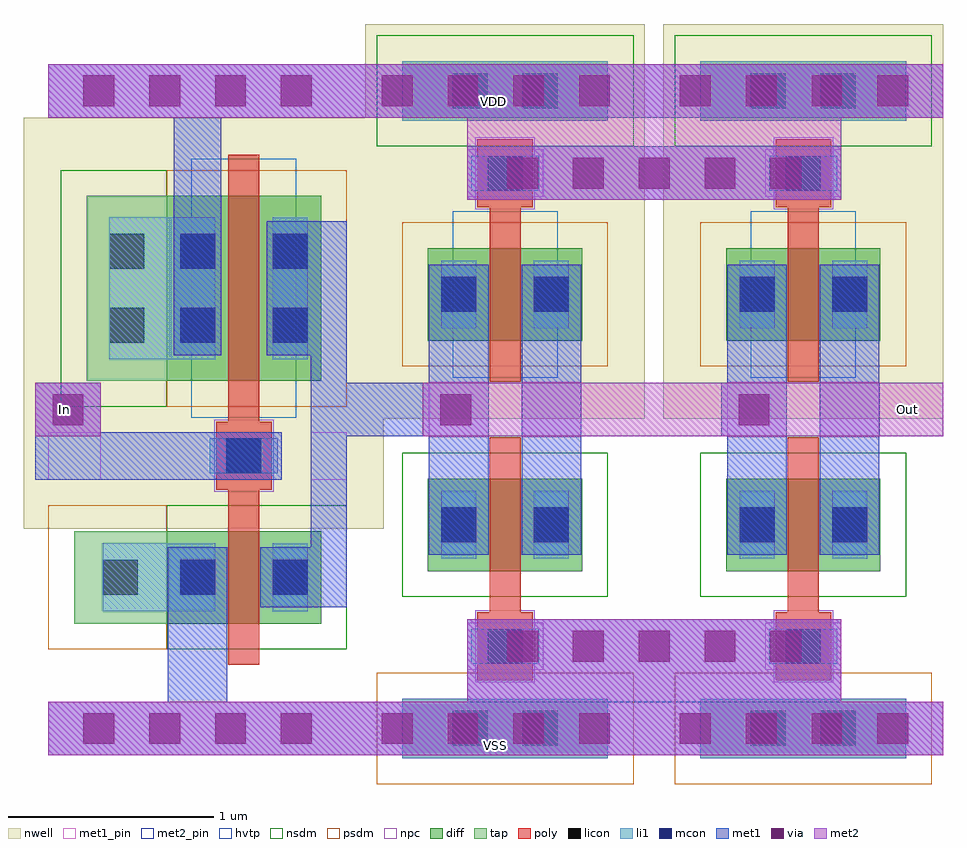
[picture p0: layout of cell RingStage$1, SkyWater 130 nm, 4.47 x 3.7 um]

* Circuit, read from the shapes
.subckt RingStage$1 In Out VDD VSS
XM1 Out In VSS VSS sky130_fd_pr__nfet_01v8 w=0.45 l=0.15
XM2 passGate_hvt$1_1/Out VSS Out VSS sky130_fd_pr__nfet_01v8 w=0.45 l=0.15
XM3 passGate_hvt$1_7/Out VSS Out VSS sky130_fd_pr__nfet_01v8 w=0.45 l=0.15
XM4 Out In VDD VDD sky130_fd_pr__pfet_01v8_hvt w=0.9 l=0.15
XM5 passGate_hvt$1_1/Out VDD Out VDD sky130_fd_pr__pfet_01v8_hvt w=0.45 l=0.15
XM6 passGate_hvt$1_7/Out VDD Out n1 sky130_fd_pr__pfet_01v8_hvt w=0.45 l=0.15
.ends

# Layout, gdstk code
from math import pi, radians
import gdstk
lib = gdstk.Library(unit=1e-6, precision=1e-09)
def R(c, l, rs):  # rectangles x0, y0, x1, y1
    for r in rs: c.add(gdstk.rectangle(r[:2], r[2:], *l))
def A(c, l, x, y, w, h, nx, ny, dx, dy):  # array of equal rectangles
    R(c, l, [(x+i*dx, y+j*dy, x+i*dx+w, y+j*dy+h) for i in range(nx) for j in range(ny)])
nwell = (64, 20)
diff = (65, 20)
tap = (65, 44)
poly = (66, 20)
licon = (66, 44)
li1 = (67, 20)
mcon = (67, 44)
met1_pin = (68, 16)
met1 = (68, 20)
via = (68, 44)
met2_pin = (69, 16)
met2 = (69, 20)
hvtp = (78, 44)
nsdm = (93, 44)
psdm = (94, 20)
npc = (95, 20)

nfet_2 = lib.new_cell('nfet$2')
R(nfet_2, diff, [(0,0,0.75,0.45)])
R(nfet_2, tap, [(0.75,0,1.2,0.45)])
R(nfet_2, poly, [(0.3,-0.2,0.45,0.65), (0.24,0.65,0.51,0.98)])
R(nfet_2, licon, [(0.065,0.14,0.235,0.31), (0.515,0.14,0.685,0.31), (0.89,0.14,1.06,0.31), (0.29,0.73,0.46,0.9)])
R(nfet_2, li1, [(0.065,0.06,0.235,0.39), (0.515,0.06,0.685,0.39), (0.89,0.06,1.06,0.39), (0.21,0.73,0.54,0.9)])
R(nfet_2, mcon, [(0.065,0.14,0.235,0.31), (0.515,0.14,0.685,0.31), (0.29,0.73,0.46,0.9)])
R(nfet_2, met1, [(0.005,0.08,0.295,0.37), (0.455,0.08,0.745,0.37), (0.19,0.7,0.56,0.93)])
R(nfet_2, nsdm, [(-0.125,-0.125,0.75,0.575)])
R(nfet_2, psdm, [(0.75,-0.125,1.325,0.575)])
R(nfet_2, npc, [(0.23,0.64,0.52,0.99)])

pfet_2 = lib.new_cell('pfet$2')
R(pfet_2, nwell, [(-0.305,-0.72,1.445,1.28)])
R(pfet_2, diff, [(0,0,0.75,0.9)])
R(pfet_2, tap, [(0.75,0,1.14,0.9)])
R(pfet_2, poly, [(0.24,-0.53,0.51,-0.2), (0.3,-0.2,0.45,1.1)])
R(pfet_2, licon, [(0.29,-0.45,0.46,-0.28), (0.065,0.185,0.235,0.355), (0.515,0.185,0.685,0.355), (0.86,0.185,1.03,0.355), (0.065,0.545,0.235,0.715), (0.515,0.545,0.685,0.715), (0.86,0.545,1.03,0.715)])
R(pfet_2, li1, [(0.21,-0.45,0.54,-0.28), (0.065,0.105,0.235,0.795), (0.515,0.105,0.685,0.795), (0.86,0.105,1.03,0.795)])
R(pfet_2, mcon, [(0.29,-0.45,0.46,-0.28), (0.065,0.185,0.235,0.355), (0.515,0.185,0.685,0.355), (0.065,0.545,0.235,0.715), (0.515,0.545,0.685,0.715)])
R(pfet_2, met1, [(0.19,-0.48,0.56,-0.25), (0.035,0.125,0.265,0.775), (0.485,0.125,0.715,0.775)])
R(pfet_2, hvtp, [(0.12,-0.18,0.63,1.08)])
R(pfet_2, nsdm, [(0.75,-0.125,1.265,1.025)])
R(pfet_2, psdm, [(-0.125,-0.125,0.75,1.025)])
R(pfet_2, npc, [(0.23,-0.54,0.52,-0.19)])

vias_gen_5 = lib.new_cell('vias_gen$5')
R(vias_gen_5, met1, [(0,0,1.45,0.26)])
A(vias_gen_5, via, 0.17, 0.055, 0.15, 0.15, 4, 1, 0.32, 0)
R(vias_gen_5, met2, [(0,0,1.45,0.26)])

inverter_1 = lib.new_cell('inverter$1')
R(inverter_1, li1, [(-0.04,0.12,0.505,0.45), (-0.01,1.345,0.505,2.035)])
R(inverter_1, met1_pin, [(-0.305,0.76,-0.05,0.99), (0.97,0.76,1.145,0.99)])
R(inverter_1, met1, [(-0.305,-0.55,0.85,-0.32), (0.85,-0.55,1.145,-0.32), (0.275,-0.32,0.565,0.43), (0.97,0.14,1.145,0.99), (-0.305,0.76,0.83,0.99), (0.97,0.99,1.145,2.015), (0.305,1.365,0.535,2.52), (-0.305,2.52,0.85,2.75), (0.85,2.52,1.145,2.75)])
R(inverter_1, met2_pin, [(-0.305,-0.58,1.145,-0.32), (-0.305,2.52,1.145,2.78)])
inverter_1.add(gdstk.Reference(nfet_2, (1.02,0.06), rotation=pi, x_reflection=True))
inverter_1.add(gdstk.Reference(pfet_2, (1.02,1.24), rotation=pi, x_reflection=True))
inverter_1.add(gdstk.Reference(vias_gen_5, (-0.305,-0.58)))
inverter_1.add(gdstk.Reference(vias_gen_5, (-0.305,2.52)))
inverter_1.add(gdstk.Label('Out', (1.045,0.855), layer=68, texttype=5))
inverter_1.add(gdstk.Label('In', (-0.19,0.87), layer=68, texttype=5))
inverter_1.add(gdstk.Label('VSS', (0.415,-0.47), layer=69, texttype=5))
inverter_1.add(gdstk.Label('VDD', (0.405,2.65), layer=69, texttype=5))

nfet_3 = lib.new_cell('nfet$3')
R(nfet_3, diff, [(0,0,0.75,0.45)])
R(nfet_3, poly, [(0.24,-0.53,0.51,-0.2), (0.3,-0.2,0.45,0.65)])
R(nfet_3, licon, [(0.29,-0.45,0.46,-0.28), (0.065,0.14,0.235,0.31), (0.515,0.14,0.685,0.31)])
R(nfet_3, li1, [(0.21,-0.45,0.54,-0.28), (0.065,0.06,0.235,0.39), (0.515,0.06,0.685,0.39)])
R(nfet_3, mcon, [(0.29,-0.45,0.46,-0.28), (0.065,0.14,0.235,0.31), (0.515,0.14,0.685,0.31)])
R(nfet_3, met1, [(0.19,-0.48,0.56,-0.25), (0.005,0.08,0.295,0.37), (0.455,0.08,0.745,0.37)])
R(nfet_3, nsdm, [(-0.125,-0.125,0.875,0.575)])
R(nfet_3, npc, [(0.23,-0.54,0.52,-0.19)])

pfet_3 = lib.new_cell('pfet$3')
R(pfet_3, nwell, [(-0.305,-0.38,1.055,1.17)])
R(pfet_3, diff, [(0,0,0.75,0.45)])
R(pfet_3, poly, [(0.3,-0.2,0.45,0.65), (0.24,0.65,0.51,0.98)])
R(pfet_3, licon, [(0.065,0.14,0.235,0.31), (0.515,0.14,0.685,0.31), (0.29,0.73,0.46,0.9)])
R(pfet_3, li1, [(0.065,0.06,0.235,0.39), (0.515,0.06,0.685,0.39), (0.21,0.73,0.54,0.9)])
R(pfet_3, mcon, [(0.065,0.14,0.235,0.31), (0.515,0.14,0.685,0.31), (0.29,0.73,0.46,0.9)])
R(pfet_3, met1, [(0.005,0.08,0.295,0.37), (0.455,0.08,0.745,0.37), (0.19,0.7,0.56,0.93)])
R(pfet_3, hvtp, [(0.12,-0.18,0.63,0.63)])
R(pfet_3, psdm, [(-0.125,-0.125,0.875,0.575)])
R(pfet_3, npc, [(0.23,0.64,0.52,0.99)])

vias_gen_6 = lib.new_cell('vias_gen$6')
R(vias_gen_6, nwell, [(-0.18,-0.18,1.18,0.47)])
R(vias_gen_6, tap, [(0,0,1,0.29)])
R(vias_gen_6, licon, [(0.245,0.06,0.415,0.23), (0.585,0.06,0.755,0.23)])
R(vias_gen_6, li1, [(0,0,1,0.29)])
R(vias_gen_6, nsdm, [(-0.125,-0.125,1.125,0.415)])

vias_gen_7 = lib.new_cell('vias_gen$7')
R(vias_gen_7, tap, [(0,0,1,0.29)])
R(vias_gen_7, licon, [(0.245,0.06,0.415,0.23), (0.585,0.06,0.755,0.23)])
R(vias_gen_7, li1, [(0,0,1,0.29)])
R(vias_gen_7, psdm, [(-0.125,-0.125,1.125,0.415)])

passgate_hvt_1 = lib.new_cell('passGate_hvt$1')
R(passgate_hvt_1, met1_pin, [(0.33,-0.165,0.7,0.065), (0.145,0.965,0.435,1.235), (0.595,0.965,0.885,1.235), (0.33,2.135,0.7,2.365)])
R(passgate_hvt_1, met1, [(-0.255,-0.55,0.9,-0.32), (0.9,-0.55,1.195,-0.32), (0.145,0.395,0.435,1.805), (0.595,0.395,0.885,1.805), (-0.255,2.52,0.9,2.75), (0.9,2.52,1.195,2.75)])
R(passgate_hvt_1, met2_pin, [(-0.255,-0.58,1.195,-0.32), (-0.255,2.52,1.195,2.78)])
passgate_hvt_1.add(gdstk.Reference(nfet_3, (0.14,0.315)))
passgate_hvt_1.add(gdstk.Reference(pfet_3, (0.14,1.435)))
passgate_hvt_1.add(gdstk.Reference(vias_gen_5, (-0.255,-0.58)))
passgate_hvt_1.add(gdstk.Reference(vias_gen_5, (-0.255,2.52)))
passgate_hvt_1.add(gdstk.Reference(vias_gen_6, (0.015,2.505)))
passgate_hvt_1.add(gdstk.Reference(vias_gen_7, (0.015,-0.595)))
passgate_hvt_1.add(gdstk.Label('In', (0.28,1.1), layer=68, texttype=5))
passgate_hvt_1.add(gdstk.Label('Out', (0.74,1.095), layer=68, texttype=5))
passgate_hvt_1.add(gdstk.Label('CLK', (0.505,-0.05), layer=68, texttype=5))
passgate_hvt_1.add(gdstk.Label('CLKN', (0.515,2.25), layer=68, texttype=5))
passgate_hvt_1.add(gdstk.Label('VSS', (0.465,-0.47), layer=69, texttype=5))
passgate_hvt_1.add(gdstk.Label('VDD', (0.455,2.65), layer=69, texttype=5))

vias_gen_8 = lib.new_cell('vias_gen$8')
R(vias_gen_8, met1, [(0,0,1.82,0.26)])
A(vias_gen_8, via, 0.195, 0.055, 0.15, 0.15, 5, 1, 0.32, 0)
R(vias_gen_8, met2, [(0,0,1.82,0.26)])

vias_gen_9 = lib.new_cell('vias_gen$9')
R(vias_gen_9, met1, [(0,0,0.32,0.26)])
R(vias_gen_9, via, [(0.085,0.055,0.235,0.205)])
R(vias_gen_9, met2, [(0,0,0.32,0.26)])

ringstage_1 = lib.new_cell('RingStage$1')
R(ringstage_1, met1, [(1.235,-0.665,3.055,-0.005), (1.235,-0.25,3.055,-0.02), (-0.865,0.675,-0.545,1.145), (-0.8,0.675,-0.545,1.145), (0.475,0.885,1.34,1.145), (1.235,2.05,3.055,2.28), (-0.8,2.435,3.55,2.695)])
R(ringstage_1, met2_pin, [(-0.8,-0.665,3.55,-0.405), (-0.865,0.885,-0.545,1.145), (3.24,0.885,3.55,1.145), (-0.8,2.435,3.55,2.695)])
R(ringstage_1, met2, [(-0.8,-0.665,3.55,-0.405), (-0.8,-0.665,3.55,-0.405), (1.235,-0.405,3.055,-0.39), (1.92,-0.405,2.37,-0.39), (1.235,-0.39,3.055,-0.005), (1.02,0.885,2.79,1.145), (2.79,0.885,3.55,1.145), (1.235,2.035,3.055,2.695), (-0.8,2.435,3.55,2.695)])
ringstage_1.add(gdstk.Reference(inverter_1, (-0.495,-0.085)))
ringstage_1.add(gdstk.Reference(passgate_hvt_1, (0.905,-0.085)))
ringstage_1.add(gdstk.Reference(vias_gen_8, (1.235,2.035)))
ringstage_1.add(gdstk.Reference(vias_gen_8, (1.235,-0.265)))
ringstage_1.add(gdstk.Reference(vias_gen_9, (1.02,0.885)))
ringstage_1.add(gdstk.Reference(vias_gen_9, (-0.865,0.885)))
ringstage_1.add(gdstk.Reference(vias_gen_9, (2.47,0.885)))
ringstage_1.add(gdstk.Reference(passgate_hvt_1, (2.355,-0.085)))
ringstage_1.add(gdstk.Label('VDD', (1.365,2.515), layer=69, texttype=16))
ringstage_1.add(gdstk.Label('VDD', (1.405,2.54), layer=69, texttype=5))
ringstage_1.add(gdstk.Label('In', (-0.72,1.015), layer=69, texttype=5))
ringstage_1.add(gdstk.Label('Out', (3.375,1.015), layer=69, texttype=5))
ringstage_1.add(gdstk.Label('VSS', (1.375,-0.62), layer=69, texttype=5))

lib.write_gds('RingStage_1.gds')
